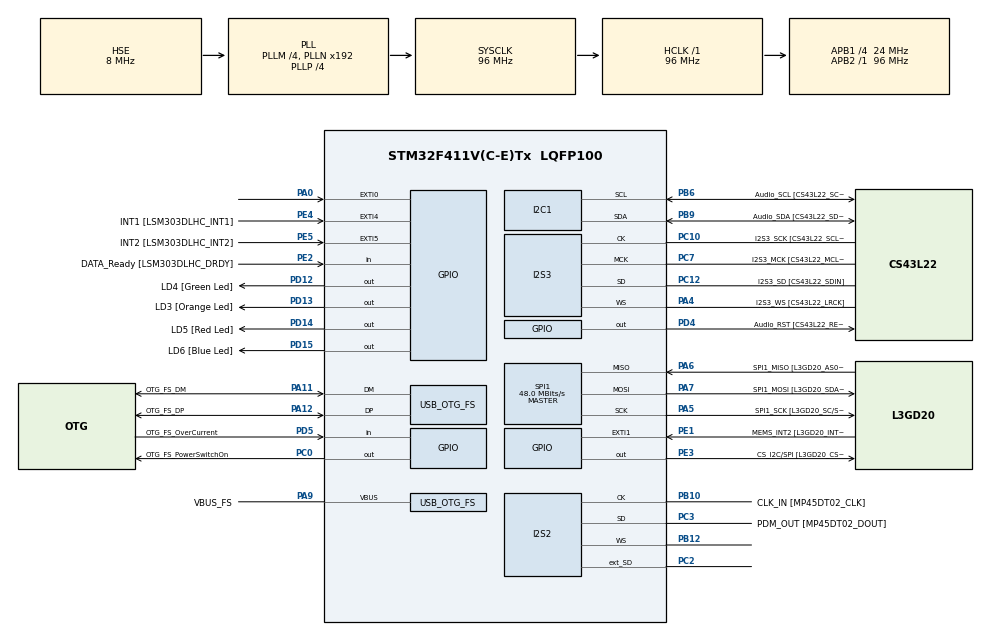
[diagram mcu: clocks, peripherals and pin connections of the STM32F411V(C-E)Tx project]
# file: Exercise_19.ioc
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FREERTOS.Queues01=QS2A,16,uint16_t,0,Dynamic,NULL,NULL
FREERTOS.Tasks01=AlarmTask,0,128,StartAlarmTask,Default,NULL,Dynamic,NULL,NULL;SensorMonitorin,0,128,StartSensorMonitoringTask,Default,NULL,Dynamic,NULL,NULL
I2S2.AudioFreq=I2S_AUDIOFREQ_96K
I2S2.ErrorAudioFreq=0.15 %
I2S2.FullDuplexMode=I2S_FULLDUPLEXMODE_ENABLE
I2S2.Instance=SPI$Index
I2S2.RealAudioFreq=96.153 KHz
I2S2.VirtualMode=I2S_MODE_MASTER
I2S3.AudioFreq=I2S_AUDIOFREQ_96K
I2S3.ErrorAudioFreq=-6.99 %
I2S3.FullDuplexMode=I2S_FULLDUPLEXMODE_DISABLE
I2S3.Instance=SPI$Index
I2S3.RealAudioFreq=89.285 KHz
I2S3.VirtualMode=I2S_MODE_MASTER
Mcu.Family=STM32F4
Mcu.Name=STM32F411V(C-E)Tx
Mcu.Package=LQFP100
NVIC.OTG_FS_IRQn=true\:5\:0\:false\:false\:true\:true\:true\:true
NVIC.PriorityGroup=NVIC_PRIORITYGROUP_4
NVIC.TIM1_UP_TIM10_IRQn=true\:0\:0\:false\:false\:true\:false\:false\:true
NVIC.TimeBase=TIM1_UP_TIM10_IRQn
NVIC.TimeBaseIP=TIM1
PA0-WKUP.GPIO_ModeDefaultEXTI=GPIO_MODE_EVT_RISING
PA0-WKUP.Signal=GPXTI0
PA10.GPIO_Label=OTG_FS_ID
PA10.Signal=USB_OTG_FS_ID
PA11.GPIO_Label=OTG_FS_DM
PA11.Mode=Device_Only
PA11.Signal=USB_OTG_FS_DM
PA12.GPIO_Label=OTG_FS_DP
PA12.Mode=Device_Only
PA12.Signal=USB_OTG_FS_DP
PA13.GPIO_Label=SWDIO
PA13.Mode=Serial_Wire
PA13.Signal=SYS_JTMS-SWDIO
PA14.GPIO_Label=SWCLK
PA14.Mode=Serial_Wire
PA14.Signal=SYS_JTCK-SWCLK
PA4.GPIO_Label=I2S3_WS [CS43L22_LRCK]
PA4.GPIO_Mode=GPIO_MODE_AF_PP
PA4.GPIO_PuPd=GPIO_NOPULL
PA4.GPIO_Speed=GPIO_SPEED_FREQ_LOW
PA4.Mode=Half_Duplex_Master
PA4.Signal=I2S3_WS
PA5.GPIO_Label=SPI1_SCK [L3GD20_SC/SPC]
PA5.Mode=Full_Duplex_Master
PA5.Signal=SPI1_SCK
PA6.GPIO_Label=SPI1_MISO [L3GD20_AS0/SDO]
PA6.Mode=Full_Duplex_Master
PA6.Signal=SPI1_MISO
PA7.GPIO_Label=SPI1_MOSI [L3GD20_SDA/SDI/SDO]
PA7.Mode=Full_Duplex_Master
PA7.Signal=SPI1_MOSI
PA9.GPIO_Label=VBUS_FS
PA9.Mode=Activate_VBUS
PA9.Signal=USB_OTG_FS_VBUS
PB10.GPIO_Label=CLK_IN [MP45DT02_CLK]
PB10.Mode=Full_Duplex_Master
PB10.Signal=I2S2_CK
PB12.Mode=Full_Duplex_Master
PB12.Signal=I2S2_WS
PB3.GPIO_Label=SWO
PB3.Signal=SYS_JTDO-SWO
PB6.GPIO_Label=Audio_SCL [CS43L22_SCL]
PB6.GPIO_Mode=GPIO_MODE_AF_OD
PB6.GPIO_PuPd=GPIO_NOPULL
PB6.GPIO_Speed=GPIO_SPEED_FREQ_LOW
PB6.Mode=I2C
PB6.Signal=I2C1_SCL
PB9.GPIO_Label=Audio_SDA [CS43L22_SDA]
PB9.GPIO_Mode=GPIO_MODE_AF_OD
PB9.GPIO_PuPd=GPIO_NOPULL
PB9.GPIO_Speed=GPIO_SPEED_FREQ_LOW
PB9.Mode=I2C
PB9.Signal=I2C1_SDA
PC0.GPIO_Label=OTG_FS_PowerSwitchOn
PC0.PinState=GPIO_PIN_SET
PC0.Signal=GPIO_Output
PC10.GPIO_Label=I2S3_SCK [CS43L22_SCLK]
PC10.GPIO_Mode=GPIO_MODE_AF_PP
PC10.GPIO_PuPd=GPIO_NOPULL
PC10.GPIO_Speed=GPIO_SPEED_FREQ_LOW
PC10.Mode=Half_Duplex_Master
PC10.Signal=I2S3_CK
PC12.GPIO_Label=I2S3_SD [CS43L22_SDIN]
PC12.GPIO_Mode=GPIO_MODE_AF_PP
PC12.GPIO_PuPd=GPIO_NOPULL
PC12.GPIO_Speed=GPIO_SPEED_FREQ_LOW
PC12.Mode=Half_Duplex_Master
PC12.Signal=I2S3_SD
PC14-OSC32_IN.GPIO_Label=PC14-OSC32_IN
PC14-OSC32_IN.Mode=LSE-External-Oscillator
PC14-OSC32_IN.Signal=RCC_OSC32_IN
PC15-OSC32_OUT.GPIO_Label=PC15-OSC32_OUT
PC15-OSC32_OUT.Mode=LSE-External-Oscillator
PC15-OSC32_OUT.Signal=RCC_OSC32_OUT
PC2.Mode=Full_Duplex_Master
PC2.Signal=I2S2_ext_SD
PC3.GPIO_Label=PDM_OUT [MP45DT02_DOUT]
PC3.Mode=Full_Duplex_Master
PC3.Signal=I2S2_SD
PC7.GPIO_Label=I2S3_MCK [CS43L22_MCLK]
PC7.GPIO_Mode=GPIO_MODE_AF_PP
PC7.GPIO_PuPd=GPIO_NOPULL
PC7.GPIO_Speed=GPIO_SPEED_FREQ_LOW
PC7.Mode=Master_Clock_Activated
PC7.Signal=I2S3_MCK
PD12.GPIO_Label=LD4 [Green Led]
PD12.GPIO_PuPd=GPIO_NOPULL
PD12.GPIO_Speed=GPIO_SPEED_FREQ_LOW
PD12.Signal=GPIO_Output
PD13.GPIO_Label=LD3 [Orange Led]
PD13.GPIO_PuPd=GPIO_NOPULL
PD13.GPIO_Speed=GPIO_SPEED_FREQ_LOW
PD13.Signal=GPIO_Output
PD14.GPIO_Label=LD5 [Red Led]
PD14.GPIO_PuPd=GPIO_NOPULL
PD14.GPIO_Speed=GPIO_SPEED_FREQ_LOW
PD14.Signal=GPIO_Output
PD15.GPIO_Label=LD6 [Blue Led]
PD15.GPIO_PuPd=GPIO_NOPULL
PD15.GPIO_Speed=GPIO_SPEED_FREQ_LOW
PD15.Signal=GPIO_Output
PD4.GPIO_Label=Audio_RST [CS43L22_RESET]
PD4.Signal=GPIO_Output
PD5.GPIO_Label=OTG_FS_OverCurrent
PD5.Signal=GPIO_Input
PE1.GPIO_Label=MEMS_INT2 [L3GD20_INT2]
PE1.GPIO_ModeDefaultEXTI=GPIO_MODE_EVT_RISING
PE1.Signal=GPXTI1
PE2.GPIO_Label=DATA_Ready [LSM303DLHC_DRDY]
PE2.Signal=GPIO_Input
PE3.GPIO_Label=CS_I2C/SPI [L3GD20_CS_I2C/SPI]
PE3.Signal=GPIO_Output
PE4.GPIO_Label=INT1 [LSM303DLHC_INT1]
PE4.GPIO_ModeDefaultEXTI=GPIO_MODE_EVT_RISING
PE4.Signal=GPXTI4
PE5.GPIO_Label=INT2 [LSM303DLHC_INT2]
PE5.GPIO_ModeDefaultEXTI=GPIO_MODE_EVT_RISING
PE5.Signal=GPXTI5
PH0\ -\ OSC_IN.GPIO_Label=PH0-OSC_IN
PH0\ -\ OSC_IN.Mode=HSE-External-Clock-Source
PH0\ -\ OSC_IN.Signal=RCC_OSC_IN
PH1\ -\ OSC_OUT.GPIO_Label=PH1-OSC_OUT
PH1\ -\ OSC_OUT.Mode=HSE-External-Clock-Source
PH1\ -\ OSC_OUT.Signal=RCC_OSC_OUT
ProjectManager.HeapSize=0x200
ProjectManager.StackSize=0x400
ProjectManager.TargetToolchain=STM32CubeIDE
RCC.48MHZClocksFreq_Value=48000000
RCC.AHBFreq_Value=96000000
RCC.APB1CLKDivider=RCC_HCLK_DIV4
RCC.APB1Freq_Value=24000000
RCC.APB1TimFreq_Value=48000000
RCC.APB2Freq_Value=96000000
RCC.APB2TimFreq_Value=96000000
RCC.CortexFreq_Value=96000000
RCC.HCLKFreq_Value=96000000
RCC.HSE_VALUE=8000000
RCC.HSI_VALUE=16000000
RCC.PLLI2SM=5
RCC.PLLI2SN=200
RCC.PLLM=4
RCC.PLLP=RCC_PLLP_DIV4
RCC.PLLQ=8
RCC.SYSCLKFreq_VALUE=96000000
RCC.SYSCLKSource=RCC_SYSCLKSOURCE_PLLCLK
RCC.VCOOutputFreq_Value=384000000
SPI1.BaudRatePrescaler=SPI_BAUDRATEPRESCALER_2
SPI1.CalculateBaudRate=48.0 MBits/s
SPI1.Direction=SPI_DIRECTION_2LINES
SPI1.Mode=SPI_MODE_MASTER
SPI1.VirtualType=VM_MASTER
USB_OTG_FS.VirtualMode=Device_Only
VP_FREERTOS_VS_CMSIS_V1.Mode=CMSIS_V1
VP_SYS_VS_tim1.Mode=TIM1
board=STM32F411E-DISCO

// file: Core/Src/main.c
/* USER CODE BEGIN Header */
/**
  ******************************************************************************
  * @file           : main.c
  * @brief          : Main program body
  ******************************************************************************
  * @attention
  *
  * <h2><center>&copy; Copyright (c) 2023 STMicroelectronics.
  * All rights reserved.</center></h2>
  *
  * This software component is licensed by ST under Ultimate Liberty license
  * SLA0044, the "License"; You may not use this file except in compliance with
  * the License. You may obtain a copy of the License at:
  *                             www.st.com/SLA0044
  *
  ******************************************************************************
  */
/* USER CODE END Header */

#include "main.h"
#include "cmsis_os.h"

I2C_HandleTypeDef hi2c1;

I2S_HandleTypeDef hi2s2;
I2S_HandleTypeDef hi2s3;

SPI_HandleTypeDef hspi1;

PCD_HandleTypeDef hpcd_USB_OTG_FS;

osThreadId AlarmTaskHandle;
osThreadId SensorMonitorinHandle;
osMessageQId QS2AHandle;
/* USER CODE BEGIN PV */
#define green GPIO_PIN_12
#define orange GPIO_PIN_13
#define red GPIO_PIN_14
#define blue GPIO_PIN_15
#define PB GPIO_PIN_0
#define SensorInAlarm 1
#define SensorNotInAlarm 0
/* USER CODE END PV */

void SystemClock_Config(void);
static void MX_GPIO_Init(void);
static void MX_I2C1_Init(void);
static void MX_I2S2_Init(void);
static void MX_I2S3_Init(void);
static void MX_SPI1_Init(void);
static void MX_USB_OTG_FS_PCD_Init(void);
void StartAlarmTask(void const * argument);
void StartSensorMonitoringTask(void const * argument);

/* USER CODE BEGIN 0 */
int PushButton;
int SensorState;
/* USER CODE END 0 */

int main(void)
{

  /* MCU Configuration--------------------------------------------------------*/

  /* Reset of all peripherals, Initializes the Flash interface and the Systick. */
  HAL_Init();

  /* Configure the system clock */
  SystemClock_Config();

  /* Initialize all configured peripherals */
  MX_GPIO_Init();
  MX_I2C1_Init();
  MX_I2S2_Init();
  MX_I2S3_Init();
  MX_SPI1_Init();
  MX_USB_OTG_FS_PCD_Init();

  /* Create the queue(s) */
  /* definition and creation of QS2A */
  osMessageQDef(QS2A, 16, uint16_t);
  QS2AHandle = osMessageCreate(osMessageQ(QS2A), NULL);

  /* Create the thread(s) */
  /* definition and creation of AlarmTask */
  osThreadDef(AlarmTask, StartAlarmTask, osPriorityNormal, 0, 128);
  AlarmTaskHandle = osThreadCreate(osThread(AlarmTask), NULL);

  /* definition and creation of SensorMonitorin */
  osThreadDef(SensorMonitorin, StartSensorMonitoringTask, osPriorityNormal, 0, 128);
  SensorMonitorinHandle = osThreadCreate(osThread(SensorMonitorin), NULL);

  /* Start scheduler */
  osKernelStart();

  /* We should never get here as control is now taken by the scheduler */

  /* Infinite loop */
  while (1)
  {

  }
}

void SystemClock_Config(void)
{
  RCC_OscInitTypeDef RCC_OscInitStruct = {0};
  RCC_ClkInitTypeDef RCC_ClkInitStruct = {0};
  RCC_PeriphCLKInitTypeDef PeriphClkInitStruct = {0};

  /** Configure the main internal regulator output voltage
  */
  __HAL_RCC_PWR_CLK_ENABLE();
  __HAL_PWR_VOLTAGESCALING_CONFIG(PWR_REGULATOR_VOLTAGE_SCALE1);
  /** Initializes the CPU, AHB and APB busses clocks
  */
  RCC_OscInitStruct.OscillatorType = RCC_OSCILLATORTYPE_HSE;
  RCC_OscInitStruct.HSEState = RCC_HSE_BYPASS;
  RCC_OscInitStruct.PLL.PLLState = RCC_PLL_ON;
  RCC_OscInitStruct.PLL.PLLSource = RCC_PLLSOURCE_HSE;
  RCC_OscInitStruct.PLL.PLLM = 4;
  RCC_OscInitStruct.PLL.PLLN = 192;
  RCC_OscInitStruct.PLL.PLLP = RCC_PLLP_DIV4;
  RCC_OscInitStruct.PLL.PLLQ = 8;
  if (HAL_RCC_OscConfig(&RCC_OscInitStruct) != HAL_OK)
  {
    Error_Handler();
  }
  /** Initializes the CPU, AHB and APB busses clocks
  */
  RCC_ClkInitStruct.ClockType = RCC_CLOCKTYPE_HCLK|RCC_CLOCKTYPE_SYSCLK
                              |RCC_CLOCKTYPE_PCLK1|RCC_CLOCKTYPE_PCLK2;
  RCC_ClkInitStruct.SYSCLKSource = RCC_SYSCLKSOURCE_PLLCLK;
  RCC_ClkInitStruct.AHBCLKDivider = RCC_SYSCLK_DIV1;
  RCC_ClkInitStruct.APB1CLKDivider = RCC_HCLK_DIV4;
  RCC_ClkInitStruct.APB2CLKDivider = RCC_HCLK_DIV1;

  if (HAL_RCC_ClockConfig(&RCC_ClkInitStruct, FLASH_LATENCY_3) != HAL_OK)
  {
    Error_Handler();
  }
  PeriphClkInitStruct.PeriphClockSelection = RCC_PERIPHCLK_I2S;
  PeriphClkInitStruct.PLLI2S.PLLI2SN = 200;
  PeriphClkInitStruct.PLLI2S.PLLI2SM = 5;
  PeriphClkInitStruct.PLLI2S.PLLI2SR = 2;
  if (HAL_RCCEx_PeriphCLKConfig(&PeriphClkInitStruct) != HAL_OK)
  {
    Error_Handler();
  }
}

static void MX_I2C1_Init(void)
{

  hi2c1.Instance = I2C1;
  hi2c1.Init.ClockSpeed = 100000;
  hi2c1.Init.DutyCycle = I2C_DUTYCYCLE_2;
  hi2c1.Init.OwnAddress1 = 0;
  hi2c1.Init.AddressingMode = I2C_ADDRESSINGMODE_7BIT;
  hi2c1.Init.DualAddressMode = I2C_DUALADDRESS_DISABLE;
  hi2c1.Init.OwnAddress2 = 0;
  hi2c1.Init.GeneralCallMode = I2C_GENERALCALL_DISABLE;
  hi2c1.Init.NoStretchMode = I2C_NOSTRETCH_DISABLE;
  if (HAL_I2C_Init(&hi2c1) != HAL_OK)
  {
    Error_Handler();
  }

}

static void MX_I2S2_Init(void)
{

  hi2s2.Instance = SPI2;
  hi2s2.Init.Mode = I2S_MODE_MASTER_TX;
  hi2s2.Init.Standard = I2S_STANDARD_PHILIPS;
  hi2s2.Init.DataFormat = I2S_DATAFORMAT_16B;
  hi2s2.Init.MCLKOutput = I2S_MCLKOUTPUT_DISABLE;
  hi2s2.Init.AudioFreq = I2S_AUDIOFREQ_96K;
  hi2s2.Init.CPOL = I2S_CPOL_LOW;
  hi2s2.Init.ClockSource = I2S_CLOCK_PLL;
  hi2s2.Init.FullDuplexMode = I2S_FULLDUPLEXMODE_ENABLE;
  if (HAL_I2S_Init(&hi2s2) != HAL_OK)
  {
    Error_Handler();
  }

}

static void MX_I2S3_Init(void)
{

  hi2s3.Instance = SPI3;
  hi2s3.Init.Mode = I2S_MODE_MASTER_TX;
  hi2s3.Init.Standard = I2S_STANDARD_PHILIPS;
  hi2s3.Init.DataFormat = I2S_DATAFORMAT_16B;
  hi2s3.Init.MCLKOutput = I2S_MCLKOUTPUT_ENABLE;
  hi2s3.Init.AudioFreq = I2S_AUDIOFREQ_96K;
  hi2s3.Init.CPOL = I2S_CPOL_LOW;
  hi2s3.Init.ClockSource = I2S_CLOCK_PLL;
  hi2s3.Init.FullDuplexMode = I2S_FULLDUPLEXMODE_DISABLE;
  if (HAL_I2S_Init(&hi2s3) != HAL_OK)
  {
    Error_Handler();
  }

}

static void MX_SPI1_Init(void)
{

  /* SPI1 parameter configuration*/
  hspi1.Instance = SPI1;
  hspi1.Init.Mode = SPI_MODE_MASTER;
  hspi1.Init.Direction = SPI_DIRECTION_2LINES;
  hspi1.Init.DataSize = SPI_DATASIZE_8BIT;
  hspi1.Init.CLKPolarity = SPI_POLARITY_LOW;
  hspi1.Init.CLKPhase = SPI_PHASE_1EDGE;
  hspi1.Init.NSS = SPI_NSS_SOFT;
  hspi1.Init.BaudRatePrescaler = SPI_BAUDRATEPRESCALER_2;
  hspi1.Init.FirstBit = SPI_FIRSTBIT_MSB;
  hspi1.Init.TIMode = SPI_TIMODE_DISABLE;
  hspi1.Init.CRCCalculation = SPI_CRCCALCULATION_DISABLE;
  hspi1.Init.CRCPolynomial = 10;
  if (HAL_SPI_Init(&hspi1) != HAL_OK)
  {
    Error_Handler();
  }

}

static void MX_USB_OTG_FS_PCD_Init(void)
{

  hpcd_USB_OTG_FS.Instance = USB_OTG_FS;
  hpcd_USB_OTG_FS.Init.dev_endpoints = 4;
  hpcd_USB_OTG_FS.Init.speed = PCD_SPEED_FULL;
  hpcd_USB_OTG_FS.Init.dma_enable = DISABLE;
  hpcd_USB_OTG_FS.Init.phy_itface = PCD_PHY_EMBEDDED;
  hpcd_USB_OTG_FS.Init.Sof_enable = DISABLE;
  hpcd_USB_OTG_FS.Init.low_power_enable = DISABLE;
  hpcd_USB_OTG_FS.Init.lpm_enable = DISABLE;
  hpcd_USB_OTG_FS.Init.vbus_sensing_enable = ENABLE;
  hpcd_USB_OTG_FS.Init.use_dedicated_ep1 = DISABLE;
  if (HAL_PCD_Init(&hpcd_USB_OTG_FS) != HAL_OK)
  {
    Error_Handler();
  }

}

static void MX_GPIO_Init(void)
{
  GPIO_InitTypeDef GPIO_InitStruct = {0};

  /* GPIO Ports Clock Enable */
  __HAL_RCC_GPIOE_CLK_ENABLE();
  __HAL_RCC_GPIOC_CLK_ENABLE();
  __HAL_RCC_GPIOH_CLK_ENABLE();
  __HAL_RCC_GPIOA_CLK_ENABLE();
  __HAL_RCC_GPIOB_CLK_ENABLE();
  __HAL_RCC_GPIOD_CLK_ENABLE();

  /*Configure GPIO pin Output Level */
  HAL_GPIO_WritePin(CS_I2C_SPI_GPIO_Port, CS_I2C_SPI_Pin, GPIO_PIN_RESET);

  /*Configure GPIO pin Output Level */
  HAL_GPIO_WritePin(OTG_FS_PowerSwitchOn_GPIO_Port, OTG_FS_PowerSwitchOn_Pin, GPIO_PIN_SET);

  /*Configure GPIO pin Output Level */
  HAL_GPIO_WritePin(GPIOD, LD4_Pin|LD3_Pin|LD5_Pin|LD6_Pin
                          |Audio_RST_Pin, GPIO_PIN_RESET);

  /*Configure GPIO pin : DATA_Ready_Pin */
  GPIO_InitStruct.Pin = DATA_Ready_Pin;
  GPIO_InitStruct.Mode = GPIO_MODE_INPUT;
  GPIO_InitStruct.Pull = GPIO_NOPULL;
  HAL_GPIO_Init(DATA_Ready_GPIO_Port, &GPIO_InitStruct);

  /*Configure GPIO pin : CS_I2C_SPI_Pin */
  GPIO_InitStruct.Pin = CS_I2C_SPI_Pin;
  GPIO_InitStruct.Mode = GPIO_MODE_OUTPUT_PP;
  GPIO_InitStruct.Pull = GPIO_NOPULL;
  GPIO_InitStruct.Speed = GPIO_SPEED_FREQ_LOW;
  HAL_GPIO_Init(CS_I2C_SPI_GPIO_Port, &GPIO_InitStruct);

  /*Configure GPIO pins : INT1_Pin INT2_Pin MEMS_INT2_Pin */
  GPIO_InitStruct.Pin = INT1_Pin|INT2_Pin|MEMS_INT2_Pin;
  GPIO_InitStruct.Mode = GPIO_MODE_EVT_RISING;
  GPIO_InitStruct.Pull = GPIO_NOPULL;
  HAL_GPIO_Init(GPIOE, &GPIO_InitStruct);

  /*Configure GPIO pin : OTG_FS_PowerSwitchOn_Pin */
  GPIO_InitStruct.Pin = OTG_FS_PowerSwitchOn_Pin;
  GPIO_InitStruct.Mode = GPIO_MODE_OUTPUT_PP;
  GPIO_InitStruct.Pull = GPIO_NOPULL;
  GPIO_InitStruct.Speed = GPIO_SPEED_FREQ_LOW;
  HAL_GPIO_Init(OTG_FS_PowerSwitchOn_GPIO_Port, &GPIO_InitStruct);

  /*Configure GPIO pin : PA0 */
  GPIO_InitStruct.Pin = GPIO_PIN_0;
  GPIO_InitStruct.Mode = GPIO_MODE_EVT_RISING;
  GPIO_InitStruct.Pull = GPIO_NOPULL;
  HAL_GPIO_Init(GPIOA, &GPIO_InitStruct);

  /*Configure GPIO pins : LD4_Pin LD3_Pin LD5_Pin LD6_Pin
                           Audio_RST_Pin */
  GPIO_InitStruct.Pin = LD4_Pin|LD3_Pin|LD5_Pin|LD6_Pin
                          |Audio_RST_Pin;
  GPIO_InitStruct.Mode = GPIO_MODE_OUTPUT_PP;
  GPIO_InitStruct.Pull = GPIO_NOPULL;
  GPIO_InitStruct.Speed = GPIO_SPEED_FREQ_LOW;
  HAL_GPIO_Init(GPIOD, &GPIO_InitStruct);

  /*Configure GPIO pin : OTG_FS_OverCurrent_Pin */
  GPIO_InitStruct.Pin = OTG_FS_OverCurrent_Pin;
  GPIO_InitStruct.Mode = GPIO_MODE_INPUT;
  GPIO_InitStruct.Pull = GPIO_NOPULL;
  HAL_GPIO_Init(OTG_FS_OverCurrent_GPIO_Port, &GPIO_InitStruct);

}

void StartAlarmTask(void const * argument)
{
  /* USER CODE BEGIN 5 */
  /* Infinite loop */
    osEvent QueReadState;
	for(;;)
	{
		QueReadState = osMessageGet(QS2AHandle, 0);

		if(QueReadState.status == osEventMessage)
		{
			SensorState = QueReadState.value.v;
			if(SensorState == SensorInAlarm)
			{
				HAL_GPIO_WritePin(GPIOD, red, GPIO_PIN_SET);
			}
			else if (SensorState == SensorNotInAlarm)
			{
				HAL_GPIO_WritePin(GPIOD, red, GPIO_PIN_RESET);
			}
		}
		osDelay(500);
	}
  /* USER CODE END 5 */
}

void StartSensorMonitoringTask(void const * argument)
{
  /* USER CODE BEGIN StartSensorMonitoringTask */
  /* Infinite loop */
  for(;;)
  {
    PushButton = HAL_GPIO_ReadPin(GPIOA, PB);

    while(HAL_GPIO_ReadPin(GPIOA, PB) == GPIO_PIN_RESET);
    HAL_GPIO_WritePin(GPIOD, blue, SET);

    while(HAL_GPIO_ReadPin(GPIOA, PB) == GPIO_PIN_SET);
    HAL_GPIO_WritePin(GPIOD, blue, RESET);

    if(SensorState == SensorNotInAlarm)
    {
    	SensorState = SensorInAlarm;
    	osMessagePut(QS2AHandle, SensorState, 1);
    	HAL_GPIO_WritePin(GPIOD, orange, GPIO_PIN_SET);
    }

    else
    {
    	SensorState = SensorNotInAlarm;
    	osMessagePut(QS2AHandle, SensorState, 0);
    	HAL_GPIO_WritePin(GPIOD, orange, GPIO_PIN_RESET);
    }

    osDelay(250);

//    if(PushButton == GPIO_PIN_SET)
//    {
//    	HAL_GPIO_WritePin(GPIOD, blue, SET);
//
//    }
//    else
//    {
//    	HAL_GPIO_WritePin(GPIOD, blue, RESET);
//    }
  }
  /* USER CODE END StartSensorMonitoringTask */
}

void HAL_TIM_PeriodElapsedCallback(TIM_HandleTypeDef *htim)
{
  if (htim->Instance == TIM1) {
    HAL_IncTick();
  }
}

void Error_Handler(void)
{
}

/************************ (C) COPYRIGHT STMicroelectronics *****END OF FILE****/
